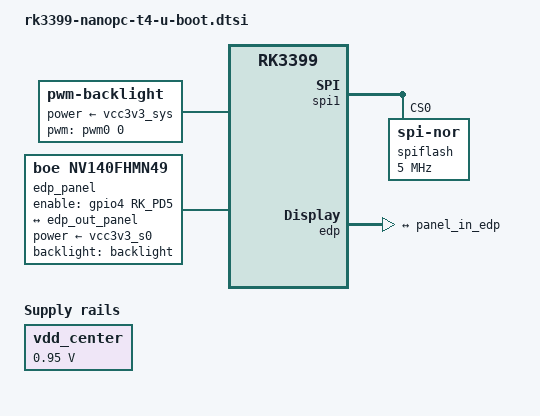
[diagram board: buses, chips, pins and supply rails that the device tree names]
// SPDX-License-Identifier: GPL-2.0+
/*
 * Copyright (C) 2019 Jagan Teki <jagan@amarulasolutions.com>
 */

#include "rk3399-nanopi4-u-boot.dtsi"
#include "rk3399-sdram-lpddr4-100.dtsi"

/ {
	chosen {
		u-boot,spl-boot-order = "same-as-spl", &spiflash, &sdhci, &sdmmc;
	};

	aliases {
		spi0 = &spi1;
	};

	backlight: backlight {
		compatible = "pwm-backlight";
		brightness-levels = <0 255>;
		num-interpolated-steps = <256>;
		default-brightness-level = <200>;
		pwms = <&pwm0 0 25000 0>;
		power-supply = <&vcc3v3_sys>;
	};

	edp_panel: edp-panel {
		compatible = "boe,nv140fhmn49", "lg,lp079qx1-sp0v", "auo,b101aw03", "simple-panel";
		backlight = <&backlight>;
		enable-gpios = <&gpio4 RK_PD5 GPIO_ACTIVE_HIGH>;	// sch: BL_EN GPIO4_D5
		power-supply = <&vcc3v3_s0>;

		port {
			panel_in_edp: endpoint@0 {
				remote-endpoint = <&edp_out_panel>;
			};
		};
	};
};

&spi1 {
	status = "okay";

	spiflash: flash@0 {
		u-boot,dm-pre-reloc;
		compatible = "jedec,spi-nor";
		reg = <0>;
		m25p,fast-read;
		spi-max-frequency = <5000000>;	// 5 MHz
	};
};

// UART4 RX and TX are multiplexed with SPI1 MISO and MOSI
&uart4 {
	status = "disabled";
};

&vdd_center {
	regulator-min-microvolt = <950000>;
	regulator-max-microvolt = <950000>;
};

&edp {
	status = "okay";
	force-hpd;		// force eDP HPD (which is not wired to eDP connector anyway)
	u-boot,dm-pre-reloc;
	rockchip,panel = <&edp_panel>;

	ports {
		edp_out: port@1 {
			reg = <1>;
			#address-cells = <1>;
			#size-cells = <0>;

			edp_out_panel: endpoint@0 {
				reg = <0>;
				remote-endpoint = <&panel_in_edp>;
			};
		};
	};
};
